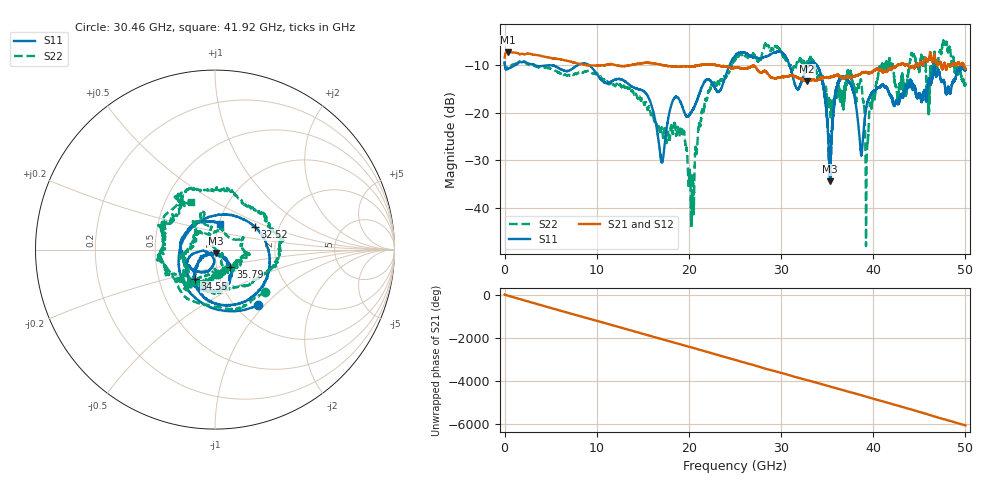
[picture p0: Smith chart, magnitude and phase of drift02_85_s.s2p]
!Created with skrf (http://scikit-rf.org).
# Hz S RI R 50.0
!freq ReS11 ImS11 ReS21 ImS21 ReS12 ImS12 ReS22 ImS22
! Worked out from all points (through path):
!   10001 points, 300 kHz to 50 GHz, reference 50 ohm
!   highest |S21| = -7.31 dB at 325.3 MHz (marker M1); lowest = -13.4 dB at 32.81 GHz (marker M2)
!   group delay of S21, straight-line fit = 335 ps
!   lowest |S11| = -34.3 dB at 35.31 GHz (marker M3), VSWR 1.04, Z = 50.3 - j1.89 ohm
!   |S11| at or under -10 dB: 3.233 GHz to 8.006 GHz (4.773 GHz wide, 84.9 % of centre); 9.108 GHz to 24.41 GHz (15.31 GHz wide, 91.3 % of centre); 33.85 GHz to end of sweep (the widest 3 of 7)
!   |S22| runs from -47.9 to -4.9 dB; largest |S21 - S12| = 0.014
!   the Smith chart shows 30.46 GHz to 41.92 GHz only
!   S11 on the Smith chart (normalised r, x): 30.46 GHz: 1.26, -0.91; 32.52 GHz: 1.51, +0.41; 34.55 GHz: 0.76, -0.26; 35.79 GHz: 1.17, -0.23; 41.92 GHz: 1.02, +0.29
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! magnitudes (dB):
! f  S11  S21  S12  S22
! 300 kHz  -9.5  -8.5  -8.4  -9.4
! 325.3 MHz  -10.9  -7.3  -7.3  -10.5
! 8.335 GHz  -9.7  -9.9  -9.9  -11.6
! 16.67 GHz  -25.4  -9.9  -9.9  -22.7
! 19.3 GHz  -18.8  -10.3  -10.3  -24.4
! 20.37 GHz  -19.5  -10.4  -10.3  -33.8
! 21.94 GHz  -13.1  -9.9  -9.9  -17.1
! 25 GHz  -8.1  -10.6  -10.6  -9.0
! 30.46 GHz  -8.2  -12.5  -12.4  -8.8
! 32.52 GHz  -11.8  -13.2  -13.3  -9.7
! 32.81 GHz  -10.6  -13.4  -13.5  -9.5
! 33.34 GHz  -9.5  -13.1  -13.2  -8.9
! 34.55 GHz  -14.1  -12.7  -12.6  -12.7
! 35.31 GHz  -34.3  -12.6  -12.5  -19.5
! 35.79 GHz  -17.8  -12.2  -12.2  -17.0
! 37.3 GHz  -13.4  -12.6  -12.5  -11.4
! 38.55 GHz  -26.2  -12.0  -12.0  -13.9
! 39.32 GHz  -18.2  -11.6  -11.5  -27.9
! 41.67 GHz  -15.7  -10.9  -11.1  -9.6
! 41.92 GHz  -16.8  -10.9  -10.9  -10.6
! 47.77 GHz  -14.3  -9.8  -9.8  -5.6
! 50 GHz  -11.1  -10.8  -10.8  -13.9
